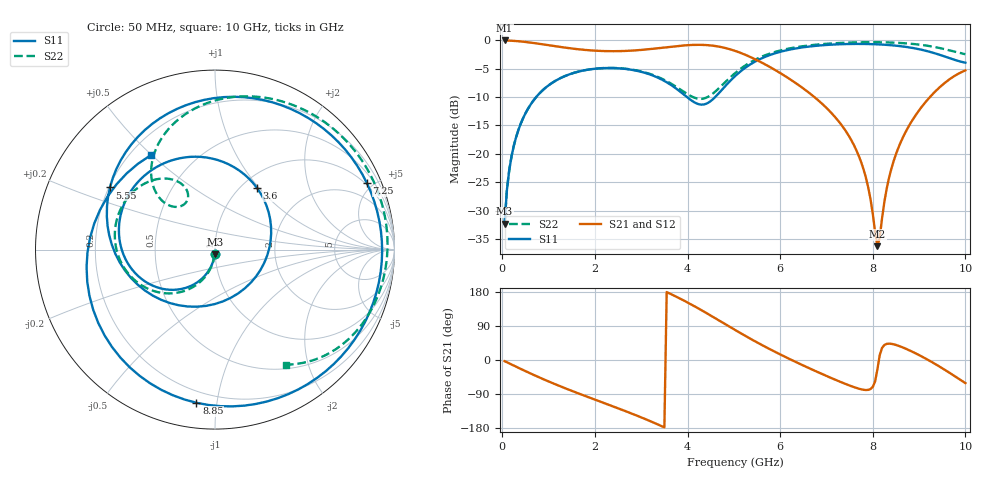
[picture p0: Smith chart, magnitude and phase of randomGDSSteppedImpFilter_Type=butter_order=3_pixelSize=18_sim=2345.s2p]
! freq	dB(S11)	phase(S11)	dB(S12)	phase(S12)
!  dB(S21)	phase(S21)	dB(S22)	phase(S22)
!S-par simulation data
#  GHz  S  DB  R 50
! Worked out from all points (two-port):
!   200 points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, 50 MHz to 10 GHz, reference 50 ohm
!   highest |S21| = -0.01 dB at 50 MHz (marker M1); lowest = -36.3 dB at 8.1 GHz (marker M2)
!   |S21| within 3 dB of the highest: start of sweep to 5.379 GHz
!   lowest |S11| = -32.3 dB at 50 MHz (marker M3), VSWR 1.05, Z = 49.8 - j2.41 ohm
!   |S11| at or under -10 dB: start of sweep to 731.6 MHz; 3.989 GHz to 4.595 GHz (605.5 MHz wide, 14.1 % of centre)
!   |S22| runs from -32.3 to -0.3 dB; largest |S21 - S12| = 0
!   S11 on the Smith chart (normalised r, x): 50 MHz: 1.00, -0.05; 3.6 GHz: 1.17, +0.97; 5.55 GHz: 0.20, +0.26; 7.25 GHz: 0.91, +4.60; 8.85 GHz: 0.13, -0.88; 10 GHz: 0.28, +0.50
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0.05  -32.33 -93.2  -0.01 -3.0  -0.01 -3.0  -32.33 -92.9
0.2  -20.41 -102.9  -0.06 -11.9  -0.06 -11.9  -20.41 -101.8
0.5  -12.86 -121.3  -0.27 -29.4  -0.27 -29.4  -12.86 -118.5
1.1  -7.36 -155.6  -0.97 -61.8  -0.97 -61.8  -7.35 -149.0
1.75  -5.31 170.4  -1.65 -93.1  -1.65 -93.1  -5.30 -177.7
2.7  -5.07 120.0  -1.84 -136.8  -1.84 -136.8  -5.03 145.8
3.4  -6.72 73.1  -1.34 -172.3  -1.34 -172.3  -6.58 122.8
3.6  -7.63 55.7  -1.15 176.4  -1.15 176.4  -7.40 118.2
4.05  -10.38 1.5  -0.82 148.5  -0.82 148.5  -9.71 117.4
4.5  -10.69 -81.3  -0.89 117.3  -0.89 117.3  -9.66 133.6
5.05  -6.12 -161.4  -1.91 77.6  -1.91 77.6  -5.61 132.2
5.55  -3.35 149.4  -3.69 43.2  -3.69 43.2  -3.05 113.4
6.15  -1.72 101.3  -6.51 5.7  -6.51 5.7  -1.50 87.2
6.7  -1.01 61.8  -9.72 -25.8  -9.72 -25.8  -0.81 63.6
7.25  -0.69 23.6  -14.13 -55.1  -14.13 -55.1  -0.46 41.1
7.8  -0.62 -14.7  -22.72 -78.6  -22.72 -78.6  -0.32 19.2
8.1  -0.69 -36.4  -36.28 -24.8  -36.28 -24.8  -0.32 7.5
8.35  -0.82 -55.3  -24.26 43.2  -24.26 43.2  -0.36 -2.1
8.85  -1.31 -96.9  -14.14 22.1  -14.14 22.1  -0.60 -21.2
9.15  -1.83 -126.0  -10.77 3.2  -10.77 3.2  -0.90 -32.3
9.5  -2.69 -165.9  -7.86 -21.7  -7.86 -21.7  -1.44 -44.5
10  -3.93 124.2  -5.29 -61.1  -5.29 -61.1  -2.44 -58.3
